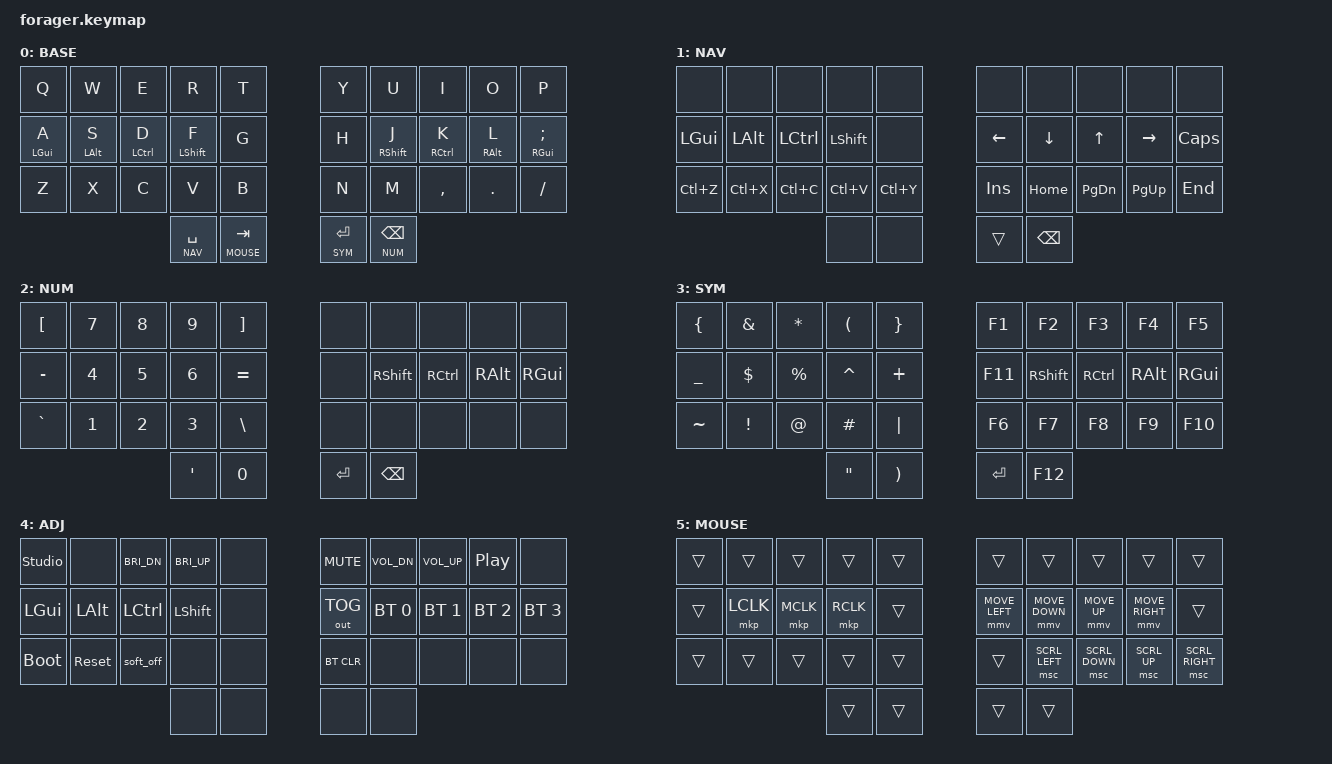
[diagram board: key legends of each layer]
/*
 * Copyright (c) 2020 The ZMK Contributors
 *
 * SPDX-License-Identifier: MIT
 */

//
//   Miryoku-style layout — QWERTY base, vim arrows (HJKL), GACS home row mods.
//   Adapted from the Corne (42-key) config to the Forager (34-key).
//   urob-inspired: timeless positional HRM, punctuation morphs, smart num.
//
//   Layer 0: BASE  — QWERTY + home row mods
//   Layer 1: NAV   — vim arrows, clipboard, nav      (hold left SPACE thumb)
//   Layer 2: NUM   — numpad on left hand    (hold right BSPC thumb; J+K latches)
//   Layer 3: SYM   — symbols on left hand            (hold right RET thumb)
//   Layer 4: ADJ   — BT, output, studio, vol, reset  (hold SPACE+RET together)
//
//   A rendered diagram of this keymap lives at keymap-drawer/forager.svg
//   (auto-generated by the "Draw keymap" workflow).

#include <behaviors.dtsi>
#include <dt-bindings/zmk/bt.h>
#include <dt-bindings/zmk/keys.h>
#include <dt-bindings/zmk/outputs.h>
#include <dt-bindings/zmk/pointing.h>

#define BASE 0
#define NAV  1
#define NUM  2
#define SYM  3
#define ADJ  4
#define MOUSE 5

#define ZMK_POINTING_DEFAULT_MOVE_VAL 1500  // default: 600
#define ZMK_POINTING_DEFAULT_SCRL_VAL 20    // default: 10

// Forager key positions (34 keys):
// Row 0:  0  1  2  3  4     5  6  7  8  9
// Row 1: 10 11 12 13 14    15 16 17 18 19
// Row 2: 20 21 22 23 24    25 26 27 28 29
// Thumb:        30 31      32 33
#define KEYS_L 0 1 2 3 4 10 11 12 13 14 20 21 22 23 24
#define KEYS_R 5 6 7 8 9 15 16 17 18 19 25 26 27 28 29
#define THUMBS 30 31 32 33

&lt {
    flavor = "balanced";
    tapping-term-ms = <200>;
    quick-tap-ms = <175>;
};

/ {
    conditional_layers {
        compatible = "zmk,conditional-layers";

        // ADJ holds BT/bootloader/reset — two-handed chord only, so a
        // single-thumb misfire can never land on it.
        adj_tri_layer {
            if-layers = <NAV SYM>;
            then-layer = <ADJ>;
        };
    };

    behaviors {
        // -- Timeless positional home row mods (urob-style) --
        // balanced + require-prior-idle + cross-hand-only trigger positions.

        hml: home_row_mod_left {
            compatible = "zmk,behavior-hold-tap";
            #binding-cells = <2>;
            flavor = "balanced";
            tapping-term-ms = <280>;
            quick-tap-ms = <175>;
            require-prior-idle-ms = <150>;
            bindings = <&kp>, <&kp>;
            hold-trigger-key-positions = <KEYS_R THUMBS>;
            hold-trigger-on-release;
        };

        hmr: home_row_mod_right {
            compatible = "zmk,behavior-hold-tap";
            #binding-cells = <2>;
            flavor = "balanced";
            tapping-term-ms = <280>;
            quick-tap-ms = <175>;
            require-prior-idle-ms = <150>;
            bindings = <&kp>, <&kp>;
            hold-trigger-key-positions = <KEYS_L THUMBS>;
            hold-trigger-on-release;
        };

        // -- Num-word (urob-style, needs zmk-auto-layer module) --
        // Latches the NUM layer until a non-number key is pressed.
        // Triggered by the J+K combo so the R-outer thumb keeps an
        // instant, hold-to-repeat Backspace (&lt NUM BSPC).

        num_word: num_word {
            compatible = "zmk,behavior-auto-layer";
            #binding-cells = <1>;
            continue-list = <N0 N1 N2 N3 N4 N5 N6 N7 N8 N9 DOT COMMA MINUS PLUS ASTERISK SLASH EQUAL BSPC DEL>;
            ignore-modifiers;
        };
    };

    combos {
        compatible = "zmk,combos";

        // -- From old Forager config --

        combo_esc {
            bindings = <&kp ESC>;
            key-positions = <0 1>;          // Q + W
            layers = <BASE>;
            timeout-ms = <30>;
            require-prior-idle-ms = <150>;
        };

        // -- Tier 1: Essential (from Corne) --

        combo_caps_word {
            bindings = <&caps_word>;
            key-positions = <13 16>;        // F + J (index home row) 
            layers = <BASE>;
            timeout-ms = <30>;
            require-prior-idle-ms = <150>;
        };

        combo_bspc {
            bindings = <&kp BSPC>;
            key-positions = <7 8>;          // I + O
            layers = <BASE>;
            timeout-ms = <30>;
            require-prior-idle-ms = <150>;
        };

        combo_del {
            bindings = <&kp DEL>;
            key-positions = <8 9>;          // O + P
            layers = <BASE>;
            timeout-ms = <30>;
            require-prior-idle-ms = <150>;
        };

        // -- Tier 2: High Value (from Corne) --

        combo_tab {
            bindings = <&kp TAB>;
            key-positions = <11 12>;        // S + D
            layers = <BASE>;
            timeout-ms = <30>;
            require-prior-idle-ms = <150>;
        };

        combo_enter {
            bindings = <&kp RET>;
            key-positions = <17 18>;        // K + L
            layers = <BASE>;
            timeout-ms = <30>;
            require-prior-idle-ms = <150>;
        };

        combo_num_word {
            bindings = <&num_word NUM>;
            key-positions = <16 17>;        // J + K (latch NUM until non-number)
            layers = <BASE>;
            timeout-ms = <30>;
            require-prior-idle-ms = <150>;
        };
    };

    keymap {
        compatible = "zmk,keymap";

        base_layer {
            display-name = "BASE";
            bindings = <
&kp Q        &kp W        &kp E         &kp R          &kp T          &kp Y        &kp U         &kp I            &kp O        &kp P
&hml LGUI A  &hml LALT S  &hml LCTRL D  &hml LSHFT F   &kp G          &kp H        &hmr RSHFT J  &hmr RCTRL K     &hmr RALT L  &hmr RGUI SEMI
&kp Z        &kp X        &kp C         &kp V          &kp B          &kp N        &kp M         &kp COMMA        &kp DOT      &kp FSLH
                                        &lt NAV SPACE  &lt MOUSE TAB       &lt SYM RET  &lt NUM BSPC
            >;
        };

        nav_layer {
            display-name = "NAV";
            bindings = <
&none       &none       &none         &none          &none          &none         &none        &none        &none       &none
&kp LGUI    &kp LALT    &kp LCTRL     &kp LSHFT      &none          &kp LEFT      &kp DOWN     &kp UP       &kp RIGHT   &kp CAPS
&kp LC(Z)   &kp LC(X)   &kp LC(C)     &kp LC(V)      &kp LC(Y)      &kp INS       &kp HOME     &kp PG_DN    &kp PG_UP   &kp END
                                      &none          &none          &trans        &kp BSPC
            >;
        };

        num_layer {
            display-name = "NUM";
            bindings = <
&kp LBKT    &kp N7      &kp N8        &kp N9         &kp RBKT       &none        &none         &none        &none       &none
&kp MINUS   &kp N4      &kp N5        &kp N6         &kp EQUAL      &none        &kp RSHFT     &kp RCTRL    &kp RALT    &kp RGUI
&kp GRAVE   &kp N1      &kp N2        &kp N3         &kp BSLH       &none        &none         &none        &none     &none
                                      &kp SQT        &kp N0         &kp RET      &kp BSPC
            >;
        };

        sym_layer {
            display-name = "SYM";
            bindings = <
&kp LBRC    &kp AMPS    &kp ASTRK     &kp LPAR       &kp RBRC   &kp F1     &kp F2       &kp F3       &kp F4       &kp F5
&kp UNDER   &kp DLLR    &kp PRCNT     &kp CARET      &kp PLUS   &kp F11    &kp RSHFT    &kp RCTRL    &kp RALT     &kp RGUI
&kp TILDE   &kp EXCL    &kp AT        &kp HASH       &kp PIPE   &kp F6     &kp F7       &kp F8       &kp F9       &kp F10
                                      &kp DQT        &kp RPAR   &kp RET    &kp F12
            >;
        };

        adj_layer {
            display-name = "ADJ";
            bindings = <
&studio_unlock &none        &kp C_BRI_DN         &kp C_BRI_UP   &none          &kp C_MUTE   &kp C_VOL_DN  &kp C_VOL_UP &kp C_PP    &none
&kp LGUI       &kp LALT     &kp LCTRL            &kp LSHFT      &none          &out OUT_TOG &bt BT_SEL 0  &bt BT_SEL 1 &bt BT_SEL 2 &bt BT_SEL 3
&bootloader    &sys_reset   &soft_off                &none          &none          &bt BT_CLR   &none         &none        &none       &none
                                      &none          &none          &none        &none
            >;
        };

        mouse_layer {
            display-name = "MOUSE";
            bindings = <
&trans   &trans    &trans    &trans      &trans      &trans         &trans          &trans         &trans           &trans
&trans   &mkp LCLK &mkp MCLK &mkp RCLK   &trans      &mmv MOVE_LEFT &mmv MOVE_DOWN  &mmv MOVE_UP   &mmv MOVE_RIGHT  &trans
&trans   &trans    &trans    &trans      &trans      &trans         &msc SCRL_LEFT  &msc SCRL_DOWN &msc SCRL_UP     &msc SCRL_RIGHT
         &trans   &trans   &trans   &trans
            >;
        };
    };
};
